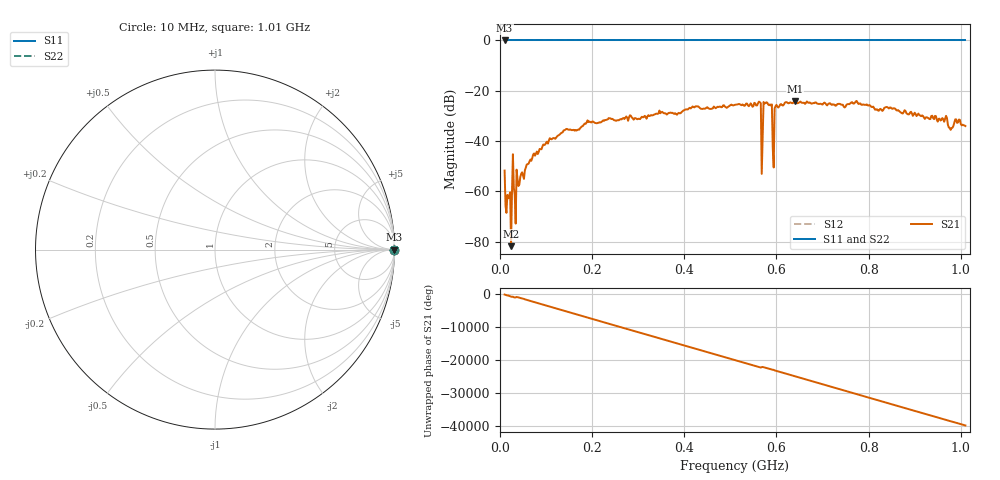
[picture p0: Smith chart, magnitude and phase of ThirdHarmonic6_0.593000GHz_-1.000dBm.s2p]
! 8/15/2025 7:17:13 PM
! C:\ANRITSUVNA\TEMP\TEMP.S2P
! CHANNEL.1
! TR.MEASUREMENT
! RAW.DATA
! RF.CORRECTION.OFF
! AVERAGING.OFF
! IF.BANDWIDTH: 5KHZ
! SWEEPTYPE:  FREQ.SWEEP(Linear)
! Reference Plane Port Info
! PORT:  PORT1  PORT2
! DISTANCE:  0  m  0  m
! TIME:  0  s  0  s
! PHASE.OFFSET:  0  deg.  0  deg.
! LOSS:  0  dB  0  dB
! REF.LOSS:  0  dB  0  dB
! REF.FREQ:  0  Hz  0  Hz
! Power Info
! POWER:  -20  dBm  -20  dBm
! EFF.POWER:  -20  dBm  -20  dBm
! SOURCE.ATTEN:  0  dB  0  dB
! TEST.ATTEN:  0  dB  0  dB
# GHZ S RI R 50.0
! FREQ.GHZ  S11RE  S11IM  S21RE  S21IM  S12RE  S12IM  S22RE  S22IM
!; PortSelection: Port_12
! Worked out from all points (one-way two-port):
!   501 points, 10 MHz to 1.01 GHz, reference 50 ohm
!   highest |S21| = -24.01 dB at 640 MHz (marker M1); lowest = -81.7 dB at 24 MHz (marker M2)
!   lowest |S11| = 0.0 dB at 10 MHz (marker M3)
!   |S11| at or under -10 dB: nowhere
!   |S22| runs from 0.0 to 0.0 dB; largest |S21 - S12| = 1.1
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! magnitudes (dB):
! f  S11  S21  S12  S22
! 10 MHz  0.0  -51.7  0.0  0.0
! 20 MHz  0.0  -61.8  0.0  0.0
! 24 MHz  0.0  -81.7  0.0  0.0
! 62 MHz  0.0  -49.0  0.0  0.0
! 98 MHz  0.0  -41.4  0.0  0.0
! 178 MHz  0.0  -34.1  0.0  0.0
! 344 MHz  0.0  -29.0  0.0  0.0
! 510 MHz  0.0  -25.6  0.0  0.0
! 562 MHz  0.0  -24.3  0.0  0.0
! 566 MHz  0.0  -24.9  0.0  0.0
! 570 MHz  0.0  -38.5  0.0  0.0
! 572 MHz  0.0  -24.4  0.0  0.0
! 576 MHz  0.0  -24.9  0.0  0.0
! 586 MHz  0.0  -25.4  0.0  0.0
! 590 MHz  0.0  -25.4  0.0  0.0
! 596 MHz  0.0  -26.9  0.0  0.0
! 600 MHz  0.0  -25.6  0.0  0.0
! 640 MHz  0.0  -24.0  0.0  0.0
! 678 MHz  0.0  -25.0  0.0  0.0
! 844 MHz  0.0  -27.0  0.0  0.0
! 978 MHz  0.0  -35.5  0.0  0.0
! 1.01 GHz  0.0  -34.0  0.0  0.0
